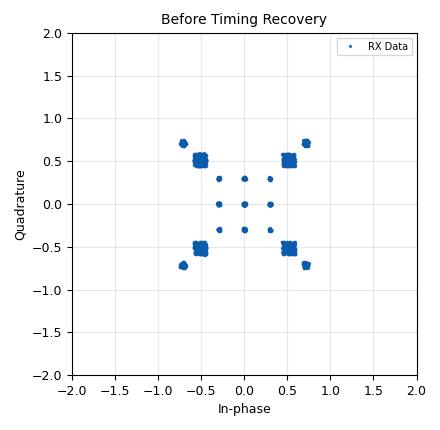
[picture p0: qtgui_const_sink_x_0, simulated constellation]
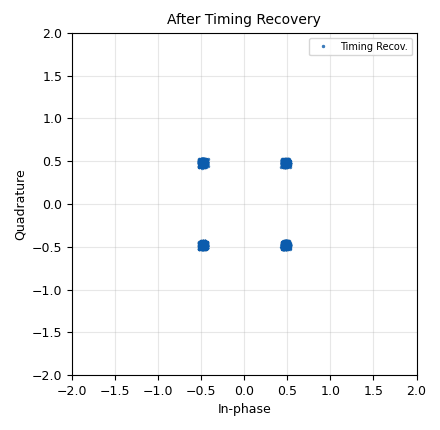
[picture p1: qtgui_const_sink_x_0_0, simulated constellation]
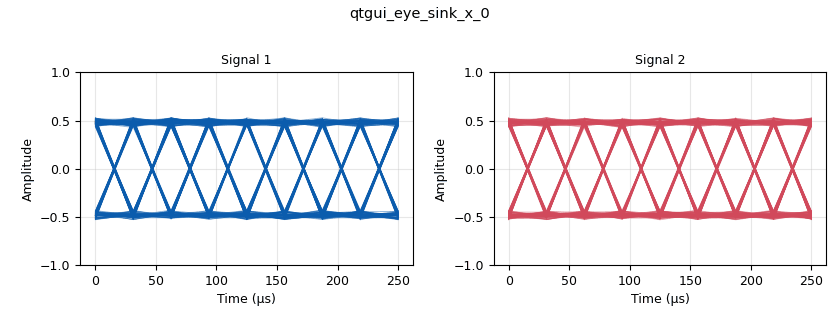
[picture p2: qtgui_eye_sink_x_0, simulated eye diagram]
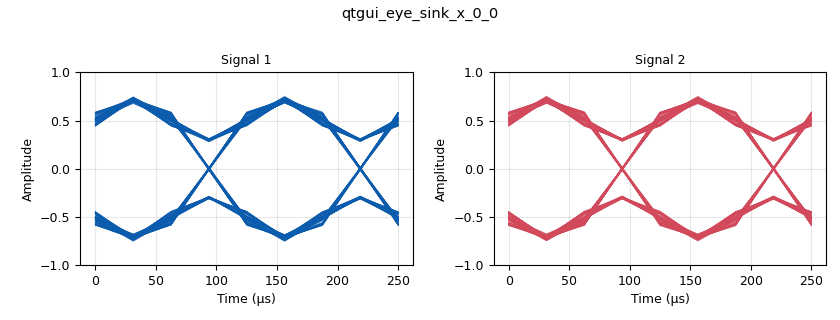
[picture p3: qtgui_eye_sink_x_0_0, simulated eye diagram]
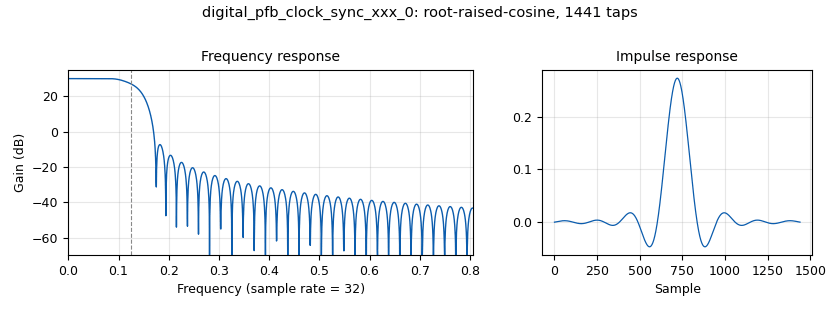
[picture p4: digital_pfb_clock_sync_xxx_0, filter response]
options:
  parameters:
    category: Custom
    generate_options: qt_gui
    id: mpsk_stage3
    output_language: python
  states: {}

blocks:
- name: arity
  id: variable
  parameters:
    value: '4'
  states: {}
- name: excess_bw
  id: variable
  parameters:
    value: '1.35'
  states: {}
- name: freq_offset
  id: variable_qtgui_range
  parameters:
    gui_hint: 0,1,1,1
    label: Frequency Offset
    start: '-0.1'
    step: '0.001'
    stop: '0.1'
    value: '0'
  states: {}
- name: nfilts
  id: variable
  parameters:
    value: '32'
  states: {}
- name: noise_volt
  id: variable_qtgui_range
  parameters:
    gui_hint: 0,0,1,1
    label: Noise Voltage
    start: '0'
    step: '0.01'
    stop: '1'
    value: '0.0001'
  states: {}
- name: qpsk
  id: variable_constellation_rect
  parameters:
    const_points: '[0.707+0.707j, -0.707+0.707j, -0.707-0.707j, 0.707-0.707j]'
    imag_sect: '2'
    real_sect: '2'
    rot_sym: '4'
    sym_map: '[0, 1, 2, 3]'
    w_imag_sect: '1'
    w_real_sect: '1'
  states: {}
- name: rrc_taps
  id: variable
  parameters:
    value: firdes.root_raised_cosine(nfilts, nfilts, 1.0/float(sps), 0.35, 45*nfilts)
  states: {}
- name: samp_rate
  id: variable
  parameters:
    value: '32000'
  states: {}
- name: sps
  id: variable
  parameters:
    value: '4'
  states: {}
- name: taps
  id: variable
  parameters:
    value: '[1.0 + 0.0j, ]'
  states: {}
- name: taps_0
  id: variable
  parameters:
    value: '[1.0 + 0.0j, ]'
  states: {}
- name: time_offset
  id: variable_qtgui_range
  parameters:
    gui_hint: 0,2,1,1
    label: Timing Offset
    start: '0.999'
    step: '0.0001'
    stop: '1.001'
    value: '1.00'
  states: {}
- name: timing_loop_bw
  id: variable_qtgui_range
  parameters:
    gui_hint: 0,3,1,1
    label: 'Time: BW'
    start: '0.0'
    step: '0.01'
    stop: '0.2'
    value: 6.28/100.0
    widget: slider
  states: {}
- name: analog_random_source_x_0
  id: analog_random_source_x
  parameters:
    max: '256'
    min: '0'
    num_samps: '10000'
    repeat: 'True'
    type: byte
  states: {}
- name: blocks_multiply_const_vxx_0
  id: blocks_multiply_const_vxx
  parameters:
    const: 0.5+0.5j
    type: complex
  states: {}
- name: blocks_throttle_0
  id: blocks_throttle
  parameters:
    samples_per_second: samp_rate
    type: complex
  states: {}
- name: channels_channel_model_0
  id: channels_channel_model
  parameters:
    epsilon: time_offset
    freq_offset: freq_offset
    noise_voltage: noise_volt
    seed: '0'
    taps: taps
  states: {}
- name: digital_pfb_clock_sync_xxx_0
  id: digital_pfb_clock_sync_xxx
  parameters:
    filter_size: nfilts
    init_phase: nfilts/2
    loop_bw: timing_loop_bw
    max_dev: '1.5'
    osps: '1'
    sps: sps*1.002
    taps: rrc_taps
    type: ccf
  states: {}
- name: digital_psk_mod_0
  id: digital_psk_mod
  parameters:
    constellation_points: '4'
    differential: 'True'
    excess_bw: excess_bw
    mod_code: '"gray"'
    samples_per_symbol: '4'
  states: {}
- name: qtgui_const_sink_x_0
  id: qtgui_const_sink_x
  parameters:
    alpha1: '0.5'
    gui_hint: 1,0,1,2
    label1: RX Data
    name: Before Timing Recovery
    size: '2048'
    style1: '3'
    type: complex
  states: {}
- name: qtgui_const_sink_x_0_0
  id: qtgui_const_sink_x
  parameters:
    alpha1: '0.5'
    gui_hint: 1,2,1,2
    label1: Timing Recov.
    name: After Timing Recovery
    size: '2048'
    type: complex
  states: {}
- name: qtgui_eye_sink_x_0
  id: qtgui_eye_sink_x
  parameters:
    ctrlpanel: 'True'
    grid: 'True'
    samp_per_symbol: '4'
    size: '2048'
    srate: samp_rate
    tr_mode: qtgui.TRIG_MODE_AUTO
    type: complex
  states: {}
- name: qtgui_eye_sink_x_0_0
  id: qtgui_eye_sink_x
  parameters:
    ctrlpanel: 'True'
    grid: 'True'
    samp_per_symbol: '4'
    size: '2048'
    srate: samp_rate
    tr_mode: qtgui.TRIG_MODE_AUTO
    type: complex
  states: {}

connections:
- [analog_random_source_x_0, '0', digital_psk_mod_0, '0']
- [blocks_multiply_const_vxx_0, '0', blocks_throttle_0, '0']
- [blocks_throttle_0, '0', channels_channel_model_0, '0']
- [channels_channel_model_0, '0', digital_pfb_clock_sync_xxx_0, '0']
- [channels_channel_model_0, '0', qtgui_const_sink_x_0, '0']
- [channels_channel_model_0, '0', qtgui_eye_sink_x_0_0, '0']
- [digital_pfb_clock_sync_xxx_0, '0', qtgui_const_sink_x_0_0, '0']
- [digital_pfb_clock_sync_xxx_0, '0', qtgui_eye_sink_x_0, '0']
- [digital_psk_mod_0, '0', blocks_multiply_const_vxx_0, '0']

metadata:
  file_format: 1
